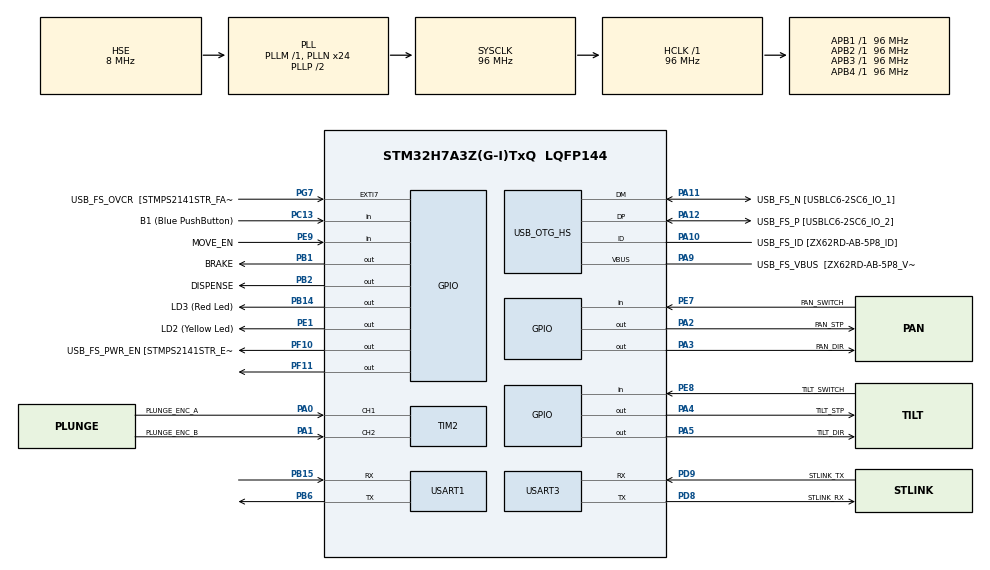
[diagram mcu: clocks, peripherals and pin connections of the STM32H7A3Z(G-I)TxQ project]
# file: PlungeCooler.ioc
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Dma.Request0=TIM2_UP
Dma.TIM2_UP.0.Direction=DMA_PERIPH_TO_MEMORY
Dma.TIM2_UP.0.EventEnable=DISABLE
Dma.TIM2_UP.0.FIFOMode=DMA_FIFOMODE_DISABLE
Dma.TIM2_UP.0.Instance=DMA1_Stream0
Dma.TIM2_UP.0.MemDataAlignment=DMA_MDATAALIGN_WORD
Dma.TIM2_UP.0.MemInc=DMA_MINC_ENABLE
Dma.TIM2_UP.0.Mode=DMA_NORMAL
Dma.TIM2_UP.0.PeriphDataAlignment=DMA_PDATAALIGN_WORD
Dma.TIM2_UP.0.PeriphInc=DMA_PINC_DISABLE
Dma.TIM2_UP.0.Polarity=HAL_DMAMUX_REQ_GEN_RISING
Dma.TIM2_UP.0.Priority=DMA_PRIORITY_VERY_HIGH
Dma.TIM2_UP.0.RequestNumber=1
Dma.TIM2_UP.0.SignalID=NONE
Dma.TIM2_UP.0.SyncEnable=DISABLE
Dma.TIM2_UP.0.SyncPolarity=HAL_DMAMUX_SYNC_NO_EVENT
Dma.TIM2_UP.0.SyncRequestNumber=1
Dma.TIM2_UP.0.SyncSignalID=NONE
Mcu.Family=STM32H7
Mcu.Name=STM32H7A3Z(G-I)TxQ
Mcu.Package=LQFP144
NVIC.DMA1_Stream0_IRQn=true\:0\:0\:false\:false\:true\:false\:true\:true
NVIC.PriorityGroup=NVIC_PRIORITYGROUP_4
NVIC.TIM2_IRQn=true\:0\:0\:false\:false\:true\:true\:true\:true
NVIC.USART1_IRQn=true\:0\:0\:false\:false\:true\:true\:true\:true
PA0.GPIO_Label=PLUNGE_ENC_A
PA0.Signal=S_TIM2_CH1_ETR
PA1.GPIO_Label=PLUNGE_ENC_B
PA1.Signal=S_TIM2_CH2
PA10.GPIO_Label=USB_FS_ID [ZX62RD-AB-5P8_ID]
PA10.Mode=OTG/Dual-Role-Device-FS
PA10.Signal=USB_OTG_HS_ID
PA11.GPIO_Label=USB_FS_N [USBLC6-2SC6_IO_1]
PA11.Mode=OTG/Dual-Role-Device-FS
PA11.Signal=USB_OTG_HS_DM
PA12.GPIO_Label=USB_FS_P [USBLC6-2SC6_IO_2]
PA12.Mode=OTG/Dual-Role-Device-FS
PA12.Signal=USB_OTG_HS_DP
PA2.GPIO_Label=PAN_STP
PA2.Signal=GPIO_Output
PA3.GPIO_Label=PAN_DIR
PA3.Signal=GPIO_Output
PA4.GPIO_Label=TILT_STP
PA4.Signal=GPIO_Output
PA5.GPIO_Label=TILT_DIR
PA5.Signal=GPIO_Output
PA9.GPIO_Label=USB_FS_VBUS  [ZX62RD-AB-5P8_VBUS]
PA9.Mode=Activate_VBUS_FS
PA9.Signal=USB_OTG_HS_VBUS
PB1.GPIO_Label=BRAKE
PB1.Signal=GPIO_Output
PB14.GPIO_Label=LD3 (Red Led)
PB14.Signal=GPIO_Output
PB15.Mode=Asynchronous
PB15.Signal=USART1_RX
PB2.GPIO_Label=DISPENSE
PB2.Signal=GPIO_Output
PB6.Mode=Asynchronous
PB6.Signal=USART1_TX
PC13.GPIO_Label=B1 (Blue PushButton)
PC13.Signal=GPIO_Input
PC14-OSC32_IN.GPIO_Label=OSC32_IN
PC14-OSC32_IN.Mode=LSE-External-Oscillator
PC14-OSC32_IN.Signal=RCC_OSC32_IN
PC15-OSC32_OUT.GPIO_Label=OSC32_OUT
PC15-OSC32_OUT.Mode=LSE-External-Oscillator
PC15-OSC32_OUT.Signal=RCC_OSC32_OUT
PD8.GPIO_Label=STLINK_RX
PD8.Mode=Asynchronous
PD8.Signal=USART3_TX
PD9.GPIO_Label=STLINK_TX
PD9.Mode=Asynchronous
PD9.Signal=USART3_RX
PE1.GPIO_Label=LD2 (Yellow Led)
PE1.Signal=GPIO_Output
PE7.GPIO_Label=PAN_SWITCH
PE7.Signal=GPIO_Input
PE8.GPIO_Label=TILT_SWITCH
PE8.Signal=GPIO_Input
PE9.GPIO_Label=MOVE_EN
PE9.Signal=GPIO_Input
PF10.GPIO_Label=USB_FS_PWR_EN [STMPS2141STR_EN]
PF10.Signal=GPIO_Output
PF11.Signal=GPIO_Output
PG7.GPIO_Label=USB_FS_OVCR  [STMPS2141STR_FAULT]
PG7.Signal=GPXTI7
PH0-OSC_IN.GPIO_Label=PH0-MCU
PH0-OSC_IN.Mode=HSE-External-Clock-Source
PH0-OSC_IN.Signal=RCC_OSC_IN
PH1-OSC_OUT.GPIO_Label=PH1-MCU
PH1-OSC_OUT.Signal=RCC_OSC_OUT
ProjectManager.HeapSize=0x200
ProjectManager.StackSize=0x400
ProjectManager.TargetToolchain=STM32CubeIDE
RCC.ADCFreq_Value=16125000
RCC.APB1Freq_Value=96000000
RCC.APB2Freq_Value=96000000
RCC.APB3Freq_Value=96000000
RCC.APB4Freq_Value=96000000
RCC.CortexFreq_Value=96000000
RCC.DIVM1=1
RCC.DIVM3=1
RCC.DIVN1=24
RCC.DIVN3=24
RCC.DIVQ1=4
RCC.HCLKFreq_Value=96000000
RCC.HSE_VALUE=8000000
RCC.PLLFRACN=0
RCC.PLLSourceVirtual=RCC_PLLSOURCE_HSE
RCC.PWR_Regulator_Voltage_Scale=PWR_REGULATOR_VOLTAGE_SCALE0
RCC.SYSCLKFreq_VALUE=96000000
RCC.SYSCLKSource=RCC_SYSCLKSOURCE_PLLCLK
RCC.SupplySource=PWR_DIRECT_SMPS_SUPPLY
RCC.USBCLockSelection=RCC_USBCLKSOURCE_HSI48
RCC.USBFreq_Value=48000000
SH.S_TIM2_CH1_ETR.0=TIM2_CH1,Encoder_Interface
SH.S_TIM2_CH2.0=TIM2_CH2,Encoder_Interface
USART1.VirtualMode-Asynchronous=VM_ASYNC
USART3.VirtualMode-Asynchronous=VM_ASYNC
board=NUCLEO-H7A3ZI-Q

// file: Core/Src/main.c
/* USER CODE BEGIN Header */
/**
  ******************************************************************************
  * @file           : main.c
  * @brief          : Main program body
  ******************************************************************************
  * @attention
  *
  * Copyright (c) 2023 STMicroelectronics.
  * All rights reserved.
  *
  * This software is licensed under terms that can be found in the LICENSE file
  * in the root directory of this software component.
  * If no LICENSE file comes with this software, it is provided AS-IS.
  *
  ******************************************************************************
  */
/* USER CODE END Header */
#include "main.h"

TIM_HandleTypeDef htim2;
DMA_HandleTypeDef hdma_tim2_up;

UART_HandleTypeDef huart1;
UART_HandleTypeDef huart3;

void SystemClock_Config(void);
static void MX_GPIO_Init(void);
static void MX_DMA_Init(void);
static void MX_USB_OTG_HS_USB_Init(void);
static void MX_TIM2_Init(void);
static void MX_USART3_UART_Init(void);
static void MX_USART1_UART_Init(void);

/* USER CODE BEGIN 0 */

/*** GLOBAL VARS ***/
uint8_t rxBuffer[12]; // serial Rx 10 byte buffer
uint32_t panPos = 0;
uint32_t tiltPos = 0;
uint8_t tx_ack[1] = {ACK};
uint8_t tx_bad[1] = {BAD};
uint32_t encC1Buffer[32];
uint32_t encC2Buffer[32];

/*** MOTOR CONTROL FUNCTIONS ***/
void move_tilt_steps(uint32_t delay, bool dir, uint32_t num_steps) {
	HAL_GPIO_WritePin(TILT_DIR_GPIO_Port, TILT_DIR_Pin, dir);
	for(int i=0; i<num_steps; i++) {
		HAL_GPIO_WritePin(TILT_STP_GPIO_Port, TILT_STP_Pin, GPIO_PIN_SET);
		HAL_Delay(delay);
		HAL_GPIO_WritePin(TILT_STP_GPIO_Port, TILT_STP_Pin, GPIO_PIN_RESET);
		HAL_Delay(delay);
	}
	tiltPos += num_steps * (1 - 2 * dir); // + if dir is 0, else -
}

void move_tilt_deg(uint32_t degrees, bool dir) {
	move_tilt_steps(TILT_DEFAULT_DELAY, dir, degrees*PAN_DEG_TO_STEPS);
}

void move_pan_steps(uint32_t delay, bool dir, uint32_t num_steps) {
	HAL_GPIO_WritePin(PAN_DIR_GPIO_Port, PAN_DIR_Pin, dir);
	for(int i=0; i<num_steps; i++) {
		HAL_GPIO_WritePin(PAN_STP_GPIO_Port, PAN_STP_Pin, GPIO_PIN_SET);
		HAL_Delay(delay);
		HAL_GPIO_WritePin(PAN_STP_GPIO_Port, PAN_STP_Pin, GPIO_PIN_RESET);
		HAL_Delay(delay);
	}
	panPos += num_steps * (1 - 2 * dir); // + if dir is 0, else -
}

void move_pan_deg(uint32_t degrees, bool dir) {
	move_pan_steps(PAN_DEFAULT_DELAY, dir, degrees*PAN_DEG_TO_STEPS);
}

void step(uint32_t delay, uint32_t port, uint32_t pin, uint32_t dir) {
	HAL_GPIO_WritePin(port, pin, GPIO_PIN_SET);
	HAL_Delay(delay);
	HAL_GPIO_WritePin(port, pin, GPIO_PIN_RESET);
	HAL_Delay(delay);
}

/*** USART Rx HANDLE ***/
void ack(void) {
    HAL_UART_Transmit(&huart1, tx_ack, 1, 100);
}

void bad(void) {
	HAL_UART_Transmit(&huart1, tx_bad, 1, 100);
}

void HAL_UART_RxCpltCallback(UART_HandleTypeDef *huart) {
    HAL_UART_Receive_IT(&huart1, rxBuffer, 12);
    if(rxBuffer[0] == MOVE) {
    	uint32_t amount = rxBuffer[2] << 24 | rxBuffer[3] << 16 | rxBuffer[4] << 8 | rxBuffer[5];
    	switch(rxBuffer[1]) {
			case UP:
				move_tilt_deg(amount, DIR_TILT_UP);
				ack();
				break;
			case DOWN:
				move_tilt_deg(amount, DIR_TILT_DOWN);
				ack();
				break;
			case LEFT:
				move_pan_deg(amount, DIR_PAN_LEFT);
				ack();
				break;
			case RIGHT:
				move_pan_deg(amount, DIR_PAN_RIGHT);
				ack();
				break;
			default:
				bad();
				break;
    	}
    }
    else if(rxBuffer[0] == PLUNGE) {
    	for(int i=0; i<10000; i++) {
    		HAL_TIM_DMABurst_ReadStart();
    		//print(encC1Buffer)
    	}

    	uint32_t brake_pos 		= rxBuffer[1] << 24 | rxBuffer[2]  << 16 | rxBuffer[3]  << 8 | rxBuffer[4];
    	uint32_t disp_pos 		= rxBuffer[5] << 24 | rxBuffer[6]  << 16 | rxBuffer[7]  << 8 | rxBuffer[8];
    	uint32_t target_speed 	= rxBuffer[9] << 24 | rxBuffer[10] << 16 | rxBuffer[11] << 8 | rxBuffer[12];
    	while(True){
/*    		if(encC1Buffer == brake_pos) {
 * 				HAL_GPIO_WritePin(BRAKE_GPIO_Port, BRAKE_Pin, GPIO_PIN_SET);
 * 	 	 	}
 *
*/
    	}
    }
}

/* USER CODE END 0 */

int main(void)
{
  /* USER CODE BEGIN 1 */
  /* byte order will be:
   * 0: move(0x01) or plunge (0x02)
   * for plunge:
   * 1/2/3/4: brake posn ticks from current position (must set current to 0)
   * 5/6/7/8: dispense posn ticks from current position (must set current to 0)
   * 9/10/11/12: target speed ticks/sec
   * for move:
   * 1: action
   * 2/3/4/5: amount
   * nothing, enter read loop
   */

  /* USER CODE END 1 */

  /* MCU Configuration--------------------------------------------------------*/

  /* Reset of all peripherals, Initializes the Flash interface and the Systick. */
  HAL_Init();

  /* Configure the system clock */
  SystemClock_Config();

  /* USER CODE BEGIN SysInit */
  HAL_TIM_Encoder_Start_DMA(&htim2,TIM_CHANNEL_ALL, encC1Buffer, encC2Buffer, 1);
  /* USER CODE END SysInit */

  /* Initialize all configured peripherals */
  MX_GPIO_Init();
  MX_DMA_Init();
  MX_USB_OTG_HS_USB_Init();
  MX_TIM2_Init();
  MX_USART3_UART_Init();
  MX_USART1_UART_Init();
  /* USER CODE BEGIN 2 */

  HAL_UART_Receive_IT (&huart1, UART1_rxBuffer, 12); // initialize interrupts

  /* USER CODE END 2 */

  /* Infinite loop */
  /* USER CODE BEGIN WHILE */
  while (1)
  {
	HAL_UART_Receive(&huart1, Rx_data, 12, 100);  // receive 12 bytes of data, 100ms timeout
    /* USER CODE END WHILE */

  }
}

void SystemClock_Config(void)
{
  RCC_OscInitTypeDef RCC_OscInitStruct = {0};
  RCC_ClkInitTypeDef RCC_ClkInitStruct = {0};

  /*AXI clock gating */
  RCC->CKGAENR = 0xFFFFFFFF;

  /** Supply configuration update enable
  */
  HAL_PWREx_ConfigSupply(PWR_DIRECT_SMPS_SUPPLY);

  /** Configure the main internal regulator output voltage
  */
  __HAL_PWR_VOLTAGESCALING_CONFIG(PWR_REGULATOR_VOLTAGE_SCALE0);

  while(!__HAL_PWR_GET_FLAG(PWR_FLAG_VOSRDY)) {}

  /** Initializes the RCC Oscillators according to the specified parameters
  * in the RCC_OscInitTypeDef structure.
  */
  RCC_OscInitStruct.OscillatorType = RCC_OSCILLATORTYPE_HSI48|RCC_OSCILLATORTYPE_HSE;
  RCC_OscInitStruct.HSEState = RCC_HSE_BYPASS;
  RCC_OscInitStruct.HSI48State = RCC_HSI48_ON;
  RCC_OscInitStruct.PLL.PLLState = RCC_PLL_ON;
  RCC_OscInitStruct.PLL.PLLSource = RCC_PLLSOURCE_HSE;
  RCC_OscInitStruct.PLL.PLLM = 1;
  RCC_OscInitStruct.PLL.PLLN = 24;
  RCC_OscInitStruct.PLL.PLLP = 2;
  RCC_OscInitStruct.PLL.PLLQ = 4;
  RCC_OscInitStruct.PLL.PLLR = 2;
  RCC_OscInitStruct.PLL.PLLRGE = RCC_PLL1VCIRANGE_3;
  RCC_OscInitStruct.PLL.PLLVCOSEL = RCC_PLL1VCOWIDE;
  RCC_OscInitStruct.PLL.PLLFRACN = 0;
  if (HAL_RCC_OscConfig(&RCC_OscInitStruct) != HAL_OK)
  {
    Error_Handler();
  }

  /** Initializes the CPU, AHB and APB buses clocks
  */
  RCC_ClkInitStruct.ClockType = RCC_CLOCKTYPE_HCLK|RCC_CLOCKTYPE_SYSCLK
                              |RCC_CLOCKTYPE_PCLK1|RCC_CLOCKTYPE_PCLK2
                              |RCC_CLOCKTYPE_D3PCLK1|RCC_CLOCKTYPE_D1PCLK1;
  RCC_ClkInitStruct.SYSCLKSource = RCC_SYSCLKSOURCE_PLLCLK;
  RCC_ClkInitStruct.SYSCLKDivider = RCC_SYSCLK_DIV1;
  RCC_ClkInitStruct.AHBCLKDivider = RCC_HCLK_DIV1;
  RCC_ClkInitStruct.APB3CLKDivider = RCC_APB3_DIV1;
  RCC_ClkInitStruct.APB1CLKDivider = RCC_APB1_DIV1;
  RCC_ClkInitStruct.APB2CLKDivider = RCC_APB2_DIV1;
  RCC_ClkInitStruct.APB4CLKDivider = RCC_APB4_DIV1;

  if (HAL_RCC_ClockConfig(&RCC_ClkInitStruct, FLASH_LATENCY_2) != HAL_OK)
  {
    Error_Handler();
  }
}

static void MX_TIM2_Init(void)
{

  TIM_Encoder_InitTypeDef sConfig = {0};
  TIM_MasterConfigTypeDef sMasterConfig = {0};

  htim2.Instance = TIM2;
  htim2.Init.Prescaler = 0;
  htim2.Init.CounterMode = TIM_COUNTERMODE_UP;
  htim2.Init.Period = 4294967295;
  htim2.Init.ClockDivision = TIM_CLOCKDIVISION_DIV1;
  htim2.Init.AutoReloadPreload = TIM_AUTORELOAD_PRELOAD_DISABLE;
  sConfig.EncoderMode = TIM_ENCODERMODE_TI1;
  sConfig.IC1Polarity = TIM_ICPOLARITY_RISING;
  sConfig.IC1Selection = TIM_ICSELECTION_DIRECTTI;
  sConfig.IC1Prescaler = TIM_ICPSC_DIV1;
  sConfig.IC1Filter = 0;
  sConfig.IC2Polarity = TIM_ICPOLARITY_RISING;
  sConfig.IC2Selection = TIM_ICSELECTION_DIRECTTI;
  sConfig.IC2Prescaler = TIM_ICPSC_DIV1;
  sConfig.IC2Filter = 0;
  if (HAL_TIM_Encoder_Init(&htim2, &sConfig) != HAL_OK)
  {
    Error_Handler();
  }
  sMasterConfig.MasterOutputTrigger = TIM_TRGO_RESET;
  sMasterConfig.MasterSlaveMode = TIM_MASTERSLAVEMODE_DISABLE;
  if (HAL_TIMEx_MasterConfigSynchronization(&htim2, &sMasterConfig) != HAL_OK)
  {
    Error_Handler();
  }

}

static void MX_USART1_UART_Init(void)
{

  huart1.Instance = USART1;
  huart1.Init.BaudRate = 115200;
  huart1.Init.WordLength = UART_WORDLENGTH_8B;
  huart1.Init.StopBits = UART_STOPBITS_1;
  huart1.Init.Parity = UART_PARITY_NONE;
  huart1.Init.Mode = UART_MODE_TX_RX;
  huart1.Init.HwFlowCtl = UART_HWCONTROL_NONE;
  huart1.Init.OverSampling = UART_OVERSAMPLING_16;
  huart1.Init.OneBitSampling = UART_ONE_BIT_SAMPLE_DISABLE;
  huart1.Init.ClockPrescaler = UART_PRESCALER_DIV1;
  huart1.AdvancedInit.AdvFeatureInit = UART_ADVFEATURE_NO_INIT;
  if (HAL_UART_Init(&huart1) != HAL_OK)
  {
    Error_Handler();
  }
  if (HAL_UARTEx_SetTxFifoThreshold(&huart1, UART_TXFIFO_THRESHOLD_1_8) != HAL_OK)
  {
    Error_Handler();
  }
  if (HAL_UARTEx_SetRxFifoThreshold(&huart1, UART_RXFIFO_THRESHOLD_1_8) != HAL_OK)
  {
    Error_Handler();
  }
  if (HAL_UARTEx_DisableFifoMode(&huart1) != HAL_OK)
  {
    Error_Handler();
  }

}

static void MX_USART3_UART_Init(void)
{

  huart3.Instance = USART3;
  huart3.Init.BaudRate = 115200;
  huart3.Init.WordLength = UART_WORDLENGTH_8B;
  huart3.Init.StopBits = UART_STOPBITS_1;
  huart3.Init.Parity = UART_PARITY_NONE;
  huart3.Init.Mode = UART_MODE_TX_RX;
  huart3.Init.HwFlowCtl = UART_HWCONTROL_NONE;
  huart3.Init.OverSampling = UART_OVERSAMPLING_16;
  huart3.Init.OneBitSampling = UART_ONE_BIT_SAMPLE_DISABLE;
  huart3.Init.ClockPrescaler = UART_PRESCALER_DIV1;
  huart3.AdvancedInit.AdvFeatureInit = UART_ADVFEATURE_NO_INIT;
  if (HAL_UART_Init(&huart3) != HAL_OK)
  {
    Error_Handler();
  }
  if (HAL_UARTEx_SetTxFifoThreshold(&huart3, UART_TXFIFO_THRESHOLD_1_8) != HAL_OK)
  {
    Error_Handler();
  }
  if (HAL_UARTEx_SetRxFifoThreshold(&huart3, UART_RXFIFO_THRESHOLD_1_8) != HAL_OK)
  {
    Error_Handler();
  }
  if (HAL_UARTEx_DisableFifoMode(&huart3) != HAL_OK)
  {
    Error_Handler();
  }

}

static void MX_USB_OTG_HS_USB_Init(void)
{

}

static void MX_DMA_Init(void)
{

  /* DMA controller clock enable */
  __HAL_RCC_DMA1_CLK_ENABLE();

  /* DMA interrupt init */
  /* DMA1_Stream0_IRQn interrupt configuration */
  HAL_NVIC_SetPriority(DMA1_Stream0_IRQn, 0, 0);
  HAL_NVIC_EnableIRQ(DMA1_Stream0_IRQn);

}

static void MX_GPIO_Init(void)
{
  GPIO_InitTypeDef GPIO_InitStruct = {0};

  /* GPIO Ports Clock Enable */
  __HAL_RCC_GPIOC_CLK_ENABLE();
  __HAL_RCC_GPIOF_CLK_ENABLE();
  __HAL_RCC_GPIOH_CLK_ENABLE();
  __HAL_RCC_GPIOA_CLK_ENABLE();
  __HAL_RCC_GPIOB_CLK_ENABLE();
  __HAL_RCC_GPIOE_CLK_ENABLE();
  __HAL_RCC_GPIOD_CLK_ENABLE();
  __HAL_RCC_GPIOG_CLK_ENABLE();

  /*Configure GPIO pin Output Level */
  HAL_GPIO_WritePin(GPIOF, USB_FS_PWR_EN_Pin|GPIO_PIN_11, GPIO_PIN_RESET);

  /*Configure GPIO pin Output Level */
  HAL_GPIO_WritePin(GPIOA, PAN_STP_Pin|PAN_DIR_Pin|TILT_STP_Pin|TILT_DIR_Pin, GPIO_PIN_RESET);

  /*Configure GPIO pin Output Level */
  HAL_GPIO_WritePin(GPIOB, BRAKE_Pin|DISPENSE_Pin|LD3_Pin, GPIO_PIN_RESET);

  /*Configure GPIO pin Output Level */
  HAL_GPIO_WritePin(LD2_GPIO_Port, LD2_Pin, GPIO_PIN_RESET);

  /*Configure GPIO pin : B1_Pin */
  GPIO_InitStruct.Pin = B1_Pin;
  GPIO_InitStruct.Mode = GPIO_MODE_INPUT;
  GPIO_InitStruct.Pull = GPIO_NOPULL;
  HAL_GPIO_Init(B1_GPIO_Port, &GPIO_InitStruct);

  /*Configure GPIO pins : USB_FS_PWR_EN_Pin PF11 */
  GPIO_InitStruct.Pin = USB_FS_PWR_EN_Pin|GPIO_PIN_11;
  GPIO_InitStruct.Mode = GPIO_MODE_OUTPUT_PP;
  GPIO_InitStruct.Pull = GPIO_NOPULL;
  GPIO_InitStruct.Speed = GPIO_SPEED_FREQ_LOW;
  HAL_GPIO_Init(GPIOF, &GPIO_InitStruct);

  /*Configure GPIO pins : PAN_STP_Pin PAN_DIR_Pin TILT_STP_Pin TILT_DIR_Pin */
  GPIO_InitStruct.Pin = PAN_STP_Pin|PAN_DIR_Pin|TILT_STP_Pin|TILT_DIR_Pin;
  GPIO_InitStruct.Mode = GPIO_MODE_OUTPUT_PP;
  GPIO_InitStruct.Pull = GPIO_NOPULL;
  GPIO_InitStruct.Speed = GPIO_SPEED_FREQ_LOW;
  HAL_GPIO_Init(GPIOA, &GPIO_InitStruct);

  /*Configure GPIO pins : BRAKE_Pin DISPENSE_Pin LD3_Pin */
  GPIO_InitStruct.Pin = BRAKE_Pin|DISPENSE_Pin|LD3_Pin;
  GPIO_InitStruct.Mode = GPIO_MODE_OUTPUT_PP;
  GPIO_InitStruct.Pull = GPIO_NOPULL;
  GPIO_InitStruct.Speed = GPIO_SPEED_FREQ_LOW;
  HAL_GPIO_Init(GPIOB, &GPIO_InitStruct);

  /*Configure GPIO pins : PAN_SWITCH_Pin TILT_SWITCH_Pin MOVE_EN_Pin */
  GPIO_InitStruct.Pin = PAN_SWITCH_Pin|TILT_SWITCH_Pin|MOVE_EN_Pin;
  GPIO_InitStruct.Mode = GPIO_MODE_INPUT;
  GPIO_InitStruct.Pull = GPIO_NOPULL;
  HAL_GPIO_Init(GPIOE, &GPIO_InitStruct);

  /*Configure GPIO pin : USB_FS_OVCR_Pin */
  GPIO_InitStruct.Pin = USB_FS_OVCR_Pin;
  GPIO_InitStruct.Mode = GPIO_MODE_IT_RISING;
  GPIO_InitStruct.Pull = GPIO_NOPULL;
  HAL_GPIO_Init(USB_FS_OVCR_GPIO_Port, &GPIO_InitStruct);

  /*Configure GPIO pin : USB_FS_VBUS_Pin */
  GPIO_InitStruct.Pin = USB_FS_VBUS_Pin;
  GPIO_InitStruct.Mode = GPIO_MODE_INPUT;
  GPIO_InitStruct.Pull = GPIO_NOPULL;
  HAL_GPIO_Init(USB_FS_VBUS_GPIO_Port, &GPIO_InitStruct);

  /*Configure GPIO pin : USB_FS_ID_Pin */
  GPIO_InitStruct.Pin = USB_FS_ID_Pin;
  GPIO_InitStruct.Mode = GPIO_MODE_AF_PP;
  GPIO_InitStruct.Pull = GPIO_NOPULL;
  GPIO_InitStruct.Speed = GPIO_SPEED_FREQ_LOW;
  GPIO_InitStruct.Alternate = GPIO_AF10_OTG1_HS;
  HAL_GPIO_Init(USB_FS_ID_GPIO_Port, &GPIO_InitStruct);

  /*Configure GPIO pins : USB_FS_N_Pin USB_FS_P_Pin */
  GPIO_InitStruct.Pin = USB_FS_N_Pin|USB_FS_P_Pin;
  GPIO_InitStruct.Mode = GPIO_MODE_AF_PP;
  GPIO_InitStruct.Pull = GPIO_NOPULL;
  GPIO_InitStruct.Speed = GPIO_SPEED_FREQ_LOW;
  HAL_GPIO_Init(GPIOA, &GPIO_InitStruct);

  /*Configure GPIO pin : LD2_Pin */
  GPIO_InitStruct.Pin = LD2_Pin;
  GPIO_InitStruct.Mode = GPIO_MODE_OUTPUT_PP;
  GPIO_InitStruct.Pull = GPIO_NOPULL;
  GPIO_InitStruct.Speed = GPIO_SPEED_FREQ_LOW;
  HAL_GPIO_Init(LD2_GPIO_Port, &GPIO_InitStruct);

}

void Error_Handler(void)
{
  __disable_irq();
  while (1)
  {
  }
}
